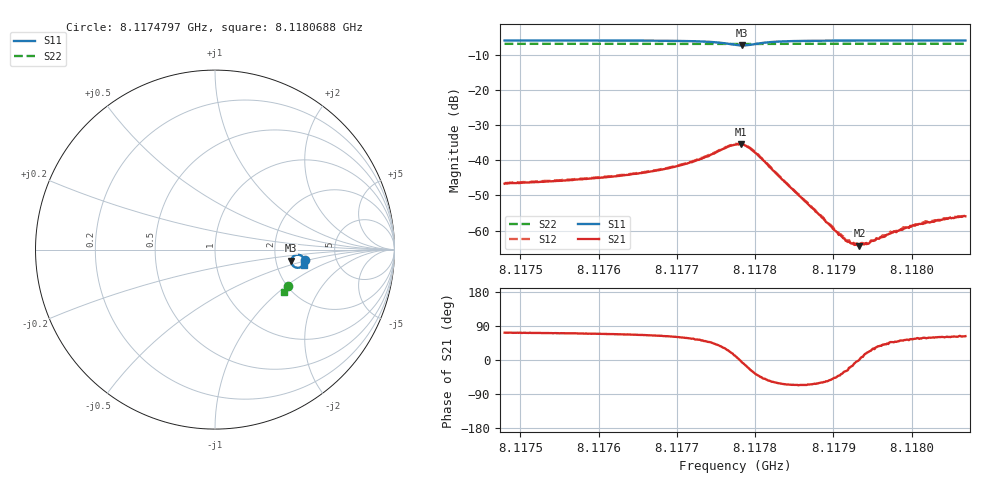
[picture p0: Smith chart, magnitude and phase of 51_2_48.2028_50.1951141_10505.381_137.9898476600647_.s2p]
#  HZ  S  RI  R  50.00
! Rohde & Schwarz Vector Network Analyzer
! Rohde-Schwarz,ZNB20-2Port,1311601062101988,3.16
! Created: UTC 3/20/2024, 11:38:16 AM
! freq[Hz]  re:S11  im:S11  re:S21  im:S21  re:S12  im:S12  re:S22  im:S22
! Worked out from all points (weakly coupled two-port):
!   401 points, 8.1174797 GHz to 8.1180688 GHz, reference 50 ohm
!   highest |S21| = -35.41 dB at 8.1177816 GHz (marker M1); lowest = -64.3 dB at 8.1179333 GHz (marker M2)
!   lowest |S11| = -7.4 dB at 8.1177831 GHz (marker M3), VSWR 2.50, Z = 122 - j18.4 ohm
!   |S11| at or under -10 dB: nowhere
!   |S22| runs from -6.9 to -6.9 dB; largest |S21 - S12| = 0.00052
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8.11747974e9  0.5019 -0.0562  0.00142 0.00442  0.0015 0.00448  0.4052 -0.2007
8.1175784e9  0.4998 -0.0666  0.00185 0.00501  0.00192 0.00512  0.4023 -0.207
8.11763583e9  0.4974 -0.0743  0.00238 0.00569  0.00248 0.0058  0.4005 -0.2108
8.11767706e9  0.4939 -0.0817  0.00318 0.00648  0.0033 0.00661  0.399 -0.2136
8.11772124e9  0.484 -0.0933  0.00535 0.00803  0.00562 0.00803  0.3971 -0.2167
8.11775658e9  0.456 -0.1011  0.0114 0.00822  0.0117 0.00815  0.3948 -0.2187
8.11777425e9  0.4293 -0.0832  0.0163 0.00331  0.0166 0.00318  0.3932 -0.2185
8.11778162e9  0.4243 -0.0652  0.0169 -0.00068  0.0171 -0.000872  0.3931 -0.2182
8.11778309e9  0.4245 -0.0615  0.0165 -0.00174  0.017 -0.00183  0.393 -0.2181
8.11779045e9  0.4313 -0.0435  0.0145 -0.0051  0.0147 -0.00558  0.3935 -0.218
8.11780223e9  0.453 -0.0292  0.00952 -0.00773  0.00956 -0.00793  0.3942 -0.2183
8.11782874e9  0.4846 -0.0372  0.003 -0.00539  0.00303 -0.00551  0.3946 -0.2205
8.11787292e9  0.4965 -0.0552  0.000919 -0.00189  0.000923 -0.0019  0.3935 -0.2241
8.11791415e9  0.4985 -0.0651  0.000666 -0.000395  0.000651 -0.000419  0.3923 -0.2269
8.11792004e9  0.4986 -0.0661  0.000651 -0.000241  0.000666 -0.000297  0.3919 -0.2274
8.11792887e9  0.4987 -0.0676  0.00065 -5.92e-05  0.000627 -3.54e-05  0.3918 -0.2278
8.11793329e9  0.4988 -0.0684  0.000607 8.88e-06  0.000635 6.41e-06  0.3917 -0.2283
8.1179436e9  0.4988 -0.0702  0.000605 0.000223  0.000604 0.000212  0.3913 -0.2289
8.11797158e9  0.4986 -0.0741  0.000631 0.000649  0.000685 0.000641  0.3903 -0.2306
8.11800103e9  0.4984 -0.0777  0.000686 0.00096  0.000654 0.000966  0.3894 -0.2326
8.11801576e9  0.4984 -0.0794  0.000661 0.00108  0.000702 0.00109  0.3888 -0.2335
8.11806877e9  0.4976 -0.0849  0.000726 0.00142  0.000775 0.00144  0.387 -0.2369
